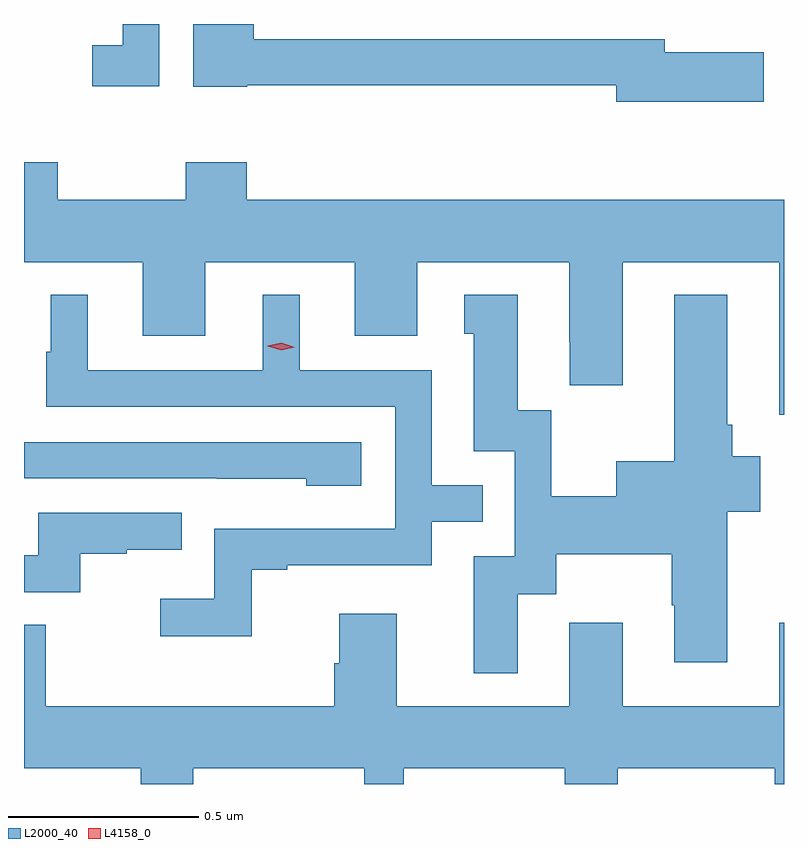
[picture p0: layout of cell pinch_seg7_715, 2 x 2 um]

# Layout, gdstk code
import gdstk
lib = gdstk.Library(unit=1e-6, precision=1e-09)
def P(c, l, *ps):  # polygons
    for p in ps: c.add(gdstk.Polygon(p, *l))
L2000_40 = (2000, 40)
L4158_0 = (4158, 0)

pinch_seg7_715 = lib.new_cell('pinch_seg7_715')
P(pinch_seg7_715, L2000_40, [(230.557,1023.813),(230.296,1023.813),(230.296,1023.847),(229.214,1023.847),(229.214,1023.887),(229.055,1023.887),(229.055,1023.722),(229.197,1023.722),(229.197,1023.726),(230.168,1023.726),(230.168,1023.683),(230.557,1023.683)],
  [(228.966,1023.887),(228.87,1023.887),(228.87,1023.831),(228.789,1023.831),(228.789,1023.723),(228.966,1023.723)],
  [(230.61,1023.424),(229.196,1023.424),(229.196,1023.523),(229.036,1023.523),(229.036,1023.424),(228.699,1023.424),(228.699,1023.523),(228.61,1023.523),(228.61,1023.26),(228.923,1023.26),(228.923,1023.066),(229.087,1023.066),(229.087,1023.26),(229.481,1023.26),(229.481,1023.066),(229.645,1023.066),(229.645,1023.26),(230.045,1023.26),(230.045,1023.049),(230.046,1023.049),(230.046,1022.937),(230.185,1022.937),(230.185,1023.26),(230.597,1023.26),(230.597,1022.859),(230.61,1022.859)],
  [(229.209,1022.451),(229.303,1022.451),(229.303,1022.463),(229.683,1022.463),(229.683,1022.577),(229.817,1022.577),(229.817,1022.673),(229.683,1022.673),(229.683,1022.976),(229.336,1022.976),(229.336,1023.175),(229.238,1023.175),(229.238,1022.976),(228.778,1022.976),(228.778,1023.175),(228.68,1023.175),(228.68,1023.024),(228.669,1023.024),(228.669,1022.88),(229.587,1022.88),(229.587,1022.559),(229.11,1022.559),(229.11,1022.374),(228.969,1022.374),(228.969,1022.276),(229.209,1022.276)],
  [(229.909,1022.386),(230.011,1022.386),(230.011,1022.492),(230.314,1022.492),(230.314,1022.358),(230.321,1022.358),(230.321,1022.208),(230.461,1022.208),(230.461,1022.603),(230.548,1022.603),(230.548,1022.75),(230.474,1022.75),(230.474,1022.833),(230.461,1022.833),(230.461,1023.175),(230.321,1023.175),(230.321,1022.737),(230.168,1022.737),(230.168,1022.644),(229.998,1022.644),(229.998,1022.871),(229.909,1022.871),(229.909,1023.175),(229.769,1023.175),(229.769,1023.072),(229.793,1023.072),(229.793,1022.763),(229.902,1022.763),(229.902,1022.487),(229.793,1022.487),(229.793,1022.178),(229.909,1022.178)],
  [(229.498,1022.787),(228.61,1022.787),(228.61,1022.691),(229.117,1022.691),(229.117,1022.69),(229.353,1022.69),(229.353,1022.672),(229.498,1022.672)],
  [(228.758,1022.493),(228.881,1022.493),(228.881,1022.504),(229.025,1022.504),(229.025,1022.601),(228.648,1022.601),(228.648,1022.489),(228.61,1022.489),(228.61,1022.391),(228.758,1022.391)],
  [(229.056,1021.928),(229.505,1021.928),(229.505,1021.887),(229.609,1021.887),(229.609,1021.928),(230.033,1021.928),(230.033,1021.887),(230.173,1021.887),(230.173,1021.928),(230.585,1021.928),(230.585,1021.887),(230.61,1021.887),(230.61,1022.311),(230.597,1022.311),(230.597,1022.092),(230.185,1022.092),(230.185,1022.311),(230.045,1022.311),(230.045,1022.092),(229.591,1022.092),(229.591,1022.335),(229.439,1022.335),(229.439,1022.205),(229.427,1022.205),(229.427,1022.092),(228.667,1022.092),(228.667,1022.306),(228.61,1022.306),(228.61,1021.928),(228.917,1021.928),(228.917,1021.887),(229.056,1021.887)])
P(pinch_seg7_715, L4158_0, [(229.287,1023.028),(229.251,1023.039),(229.251,1023.04),(229.251,1023.04),(229.287,1023.048),(229.323,1023.037),(229.323,1023.037),(229.323,1023.037)])

lib.write_gds('pinch_seg7_715.gds')
